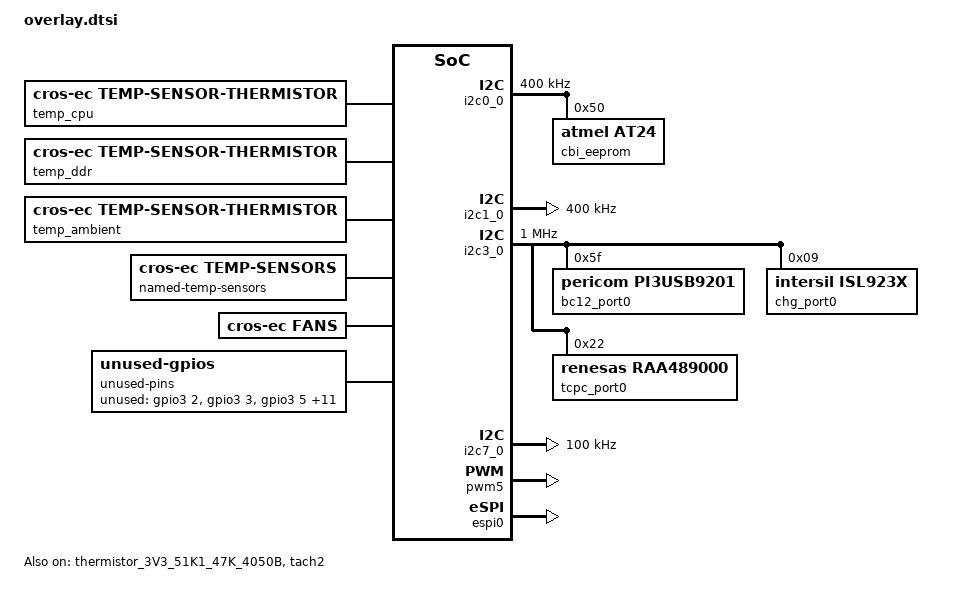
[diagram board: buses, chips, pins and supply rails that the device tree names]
/* Copyright 2022 The ChromiumOS Authors
 * Use of this source code is governed by a BSD-style license that can be
 * found in the LICENSE file.
 */

#include <cros/thermistor/thermistor.dtsi>
#include <dt-bindings/usb_pd_tcpm.h>

/ {
	aliases {
		gpio-cbi-wp = &gpio_ec_cbi_wp;
		gpio-wp = &gpio_ec_wp_odl;
		gpio-kbd-kso2 = &gpio_ec_kso_02_inv;
	};

	ec-console {
		compatible = "ec-console";
		disabled = "events", "lpc", "hostcmd";
	};

	batteries {
		default_battery: smp {
			compatible = "smp,l22m3pg0", "battery-smart";
		};
		smp_l22m3pg1 {
			compatible = "smp,l22m3pg1", "battery-smart";
		};
		sunwoda_l22d3pg0 {
			compatible = "sunwoda,l22d3pg0", "battery-smart";
		};
		sunwoda_l22d3pg1 {
			compatible = "sunwoda,l22d3pg1", "battery-smart";
		};
		celxpert_l22c3pg0 {
			compatible = "celxpert,l22c3pg0", "battery-smart";
		};
	};

	hibernate-wake-pins {
		compatible = "cros-ec,hibernate-wake-pins";
		wakeup-irqs = <
			&int_power_button
			&int_lid_open
		>;
	};

	gpio-interrupts {
		compatible = "cros-ec,gpio-interrupts";

		int_power_button: power_button {
			irq-pin = <&gpio_gsc_ec_pwr_btn_odl>;
			flags = <GPIO_INT_EDGE_BOTH>;
			handler = "power_button_interrupt";
		};
		int_lid_open: lid_open {
			irq-pin = <&gpio_lid_open>;
			flags = <GPIO_INT_EDGE_BOTH>;
			handler = "lid_interrupt";
		};
		int_tablet_mode: tablet_mode {
			irq-pin = <&gpio_tablet_mode_l>;
			flags = <GPIO_INT_EDGE_BOTH>;
			handler = "gmr_tablet_switch_isr";
		};
		int_imu: ec_imu {
			irq-pin = <&gpio_imu_int_l>;
			flags = <GPIO_INT_EDGE_FALLING>;
			handler = "motion_interrupt";
		};
		int_lid_accel: lid_accel {
			irq-pin = <&gpio_acc_int_l>;
			flags = <GPIO_INT_EDGE_FALLING>;
			handler = "lid_accel_interrupt";
		};
		int_vol_down: vol_down {
			irq-pin = <&gpio_voldn_btn_odl>;
			flags = <GPIO_INT_EDGE_BOTH>;
			handler = "button_interrupt";
		};
		int_vol_up: vol_up {
			irq-pin = <&gpio_volup_btn_odl>;
			flags = <GPIO_INT_EDGE_BOTH>;
			handler = "button_interrupt";
		};
		int_usb_c0: usb_c0 {
			irq-pin = <&gpio_usb_c0_int_odl>;
			flags = <GPIO_INT_EDGE_FALLING>;
			handler = "usb_interrupt";
		};
	};

	named-gpios {
		gpio_sb_2: sb_2 {
			gpios = <&gpiod 4 GPIO_OUTPUT>;
			no-auto-init;
		};

		gpio_sb_3: sb_3 {
			gpios = <&gpiof 5 (GPIO_OPEN_DRAIN | GPIO_VOLTAGE_1P8)>;
			no-auto-init;
		};
		gpio_sb_4: sb_4 {
			gpios = <&gpiof 4 (GPIO_INPUT | GPIO_VOLTAGE_1P8)>;
			no-auto-init;
		};
		gpio_fan_enable: fan-enable {
			gpios = <&gpio6 3 GPIO_OUTPUT>;
			no-auto-init;
		};
		ec-i2c-sensor-scl {
			gpios = <&gpio9 0 (GPIO_INPUT | GPIO_VOLTAGE_1P8)>;
		};
		ec-i2c-sensor-sda {
			gpios = <&gpio8 7 (GPIO_INPUT | GPIO_VOLTAGE_1P8)>;
		};
		gpio_power_led: power_led {
			gpios = <&gpioc 2 GPIO_OUTPUT_LOW>;
		};
		gpio_led_1_odl: led_1_odl {
			gpios = <&gpioc 4 GPIO_OUTPUT_LOW>;
		};
		gpio_led_2_odl: led_2_odl {
			gpios = <&gpioc 3 GPIO_OUTPUT_LOW>;
		};
	};

	/*
	 * Aliases used for sub-board GPIOs.
	 */
	aliases {
		/*
		 * Sub-board with type A USB, enable.
		 */
		gpio-en-usb-a1-vbus = &gpio_sb_2;
		/*
		 * HPD pins for HDMI sub-board.
		 */
		gpio-hdmi-en-odl = &gpio_sb_3;
		gpio-hpd-odl = &gpio_sb_4;
		/*
		 * Enable S5 rails for LTE sub-board
		 */
		gpio-en-sub-s5-rails = &gpio_sb_2;
	};

	temp_cpu: cpu {
		compatible = "cros-ec,temp-sensor-thermistor";
		thermistor = <&thermistor_3V3_51K1_47K_4050B>;
		adc = <&adc_temp_sensor_1>;
	};
	temp_ddr: ddr {
		compatible = "cros-ec,temp-sensor-thermistor";
		thermistor = <&thermistor_3V3_51K1_47K_4050B>;
		adc = <&adc_temp_sensor_2>;
	};
	temp_ambient: ambient {
		compatible = "cros-ec,temp-sensor-thermistor";
		thermistor = <&thermistor_3V3_51K1_47K_4050B>;
		adc = <&adc_temp_sensor_3>;
	};

	named-temp-sensors {
		compatible = "cros-ec,temp-sensors";
		cpu {
			temp_fan_off = <35>;
			temp_fan_max = <60>;
			temp_host_high = <90>;
			temp_host_halt = <100>;
			temp_host_release_high = <85>;
			power-good-pin = <&gpio_ec_soc_dsw_pwrok>;
			sensor = <&temp_cpu>;
		};
		ddr {
			temp_fan_off = <35>;
			temp_fan_max = <60>;
			temp_host_high = <90>;
			temp_host_halt = <100>;
			temp_host_release_high = <85>;
			power-good-pin = <&gpio_ec_soc_dsw_pwrok>;
			sensor = <&temp_ddr>;
		};
		ambient {
			temp_fan_off = <35>;
			temp_fan_max = <60>;
			temp_host_high = <90>;
			temp_host_halt = <100>;
			temp_host_release_high = <85>;
			power-good-pin = <&gpio_ec_soc_dsw_pwrok>;
			sensor = <&temp_ambient>;
		};
	};

	usba {
		compatible = "cros-ec,usba-port-enable-pins";
		/*
		 * sb_2 is only configured as GPIO when USB-A1 is present,
		 * but it's still safe to control when disabled.
		 *
		 * ILIM_SEL pins are referred to by legacy enum name,
		 * GPIO_USB*_ILIM_SEL. The one for port A1 is unused on
		 * sub-boards that don't have USB-A so is safe to control
		 * regardless of system configuration.
		 */
		enable-pins = <&gpio_en_usb_a0_vbus &gpio_sb_2>;
		status = "okay";
	};

	usbc {
		#address-cells = <1>;
		#size-cells = <0>;

		port0@0 {
			compatible = "named-usbc-port";
			reg = <0>;
			bc12 = <&bc12_port0>;
			chg = <&chg_port0>;
			tcpc = <&tcpc_port0>;
			usb-mux-chain-0 {
				compatible = "cros-ec,usb-mux-chain";
				usb-muxes = <&virtual_mux_0>;
			};
		};
		port0-muxes {
			virtual_mux_0: virtual-mux-0 {
				compatible = "cros-ec,usbc-mux-virtual";
			};
		};
	};

	fans {
		compatible = "cros-ec,fans";

		fan_0 {
			pwms = <&pwm5 5 PWM_KHZ(1) PWM_POLARITY_NORMAL>;
			rpm_min = <2200>;
			rpm_start = <2200>;
			rpm_max = <4200>;
			tach = <&tach2>;
			enable_gpio = <&gpio_fan_enable>;
		};
	};

	 /*
	  * Declare unused GPIOs so that they are shut down
	  * and use minimal power
	  */
	  unused-pins {
		compatible = "unused-gpios";
		unused-gpios =
			<&gpio3 2 0>,
			<&gpio3 3 0>,
			<&gpio3 5 0>,
			<&gpio3 6 0>,
			<&gpio5 7 0>,
			<&gpio6 0 0>,
			<&gpio6 6 0>,
			<&gpio8 3 0>,
			<&gpio8 6 0>,
			<&gpiob 1 0>,
			<&gpioc 7 0>,
			<&gpiod 7 0>,
			<&gpiof 2 0>,
			<&gpiof 3 0>;
	 };
};

&thermistor_3V3_51K1_47K_4050B {
	status = "okay";
};

&adc_ec_vsense_pp3300_s5 {
	/*
	 * Voltage divider on input has 47k upper and 220k lower legs with
	 * 2714 mV full-scale reading on the ADC. Apply the largest possible
	 * multiplier (without overflowing int32) to get the best possible
	 * approximation of the actual ratio, but derate by a factor of two to
	 * ensure unexpectedly high values won't overflow.
	 */
	mul = <(791261 / 2)>;
	div = <(651975 / 2)>;
};

/* Set bus speeds for I2C */
&i2c0_0 {
	label = "I2C_EEPROM";
	clock-frequency = <I2C_BITRATE_FAST>;

	cbi_eeprom: eeprom@50 {
		compatible = "atmel,at24";
		reg = <0x50>;
		size = <2048>;
		pagesize = <16>;
		address-width = <8>;
		timeout = <5>;
	};
};

&i2c1_0 {
	label = "I2C_SENSOR";
	clock-frequency = <I2C_BITRATE_FAST>;
};

&i2c3_0 {
	label = "I2C_USB_C0_TCPC";
	clock-frequency = <I2C_BITRATE_FAST_PLUS>;

	bc12_port0: pi3usb9201@5f {
		compatible = "pericom,pi3usb9201";
		status = "okay";
		reg = <0x5f>;
		/*
		 * BC1.2 interrupt is shared with TCPC, so
		 * IRQ is not specified here and handled by
		 * usb_c0_interrupt.
		 */
	};

	chg_port0: isl923x@9 {
		compatible = "intersil,isl923x";
		status = "okay";
		reg = <0x9>;
	};

	tcpc_port0: raa489000@22 {
		compatible = "renesas,raa489000";
		reg = <0x22>;
		tcpc-flags = <(
			TCPC_FLAGS_TCPCI_REV2_0 |
			TCPC_FLAGS_VBUS_MONITOR)>;
	};
};

&i2c7_0 {
	label = "I2C_BATTERY";
	clock-frequency = <I2C_BITRATE_STANDARD>;
};

&pwm5_gpb7 {
	drive-open-drain;
};

&pwm5 {
	status = "okay";
	clock-bus = "NPCX_CLOCK_BUS_LFCLK";
	pinctrl-0 = <&pwm5_gpb7>;
	pinctrl-names = "default";
};

/* Tachometer for fan speed measurement */
&tach2 {
	status = "okay";
	pinctrl-0 = <&ta2_1_in_gp73>;
	pinctrl-names = "default";
	port = <NPCX_TACH_PORT_A>; /* port-A is selected */
	sample-clk = <NPCX_TACH_FREQ_LFCLK>; /* Use LFCLK as sampling clock */
	pulses-per-round = <2>; /* number of pulses per round of encoder */
};

/* host interface */
&espi0 {
	status = "okay";
	pinctrl-0 = <&espi_lpc_gp46_47_51_52_53_54_55_57>;
	pinctrl-names = "default";
};

/*
 * Declare GPIOs that have leakage current caused by board issues here. NPCX ec
 * will disable their input buffers before entering deep sleep and restore them
 * after waking up automatically for better power consumption.
 */
&power_leakage_io {
	leak-gpios = <&gpioa 4 GPIO_OPEN_DRAIN
		      &gpiof 1 GPIO_OPEN_DRAIN>;
};
